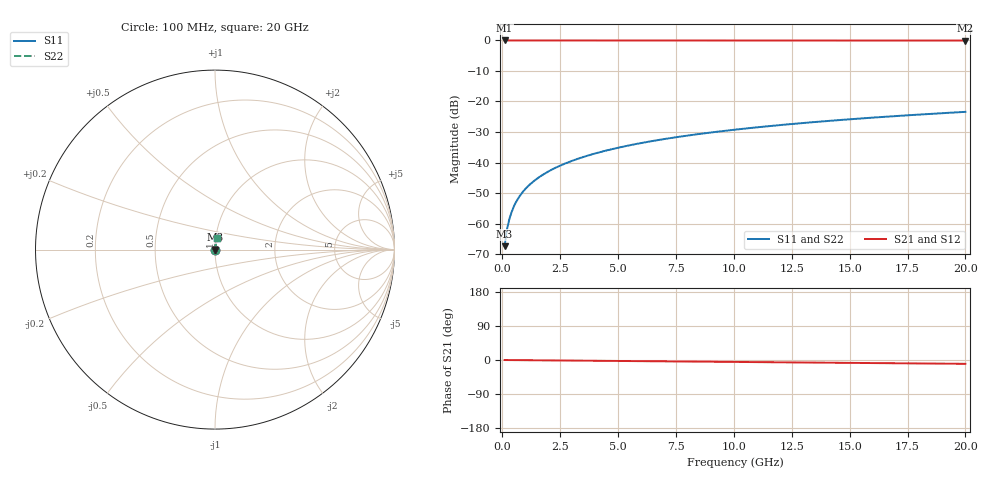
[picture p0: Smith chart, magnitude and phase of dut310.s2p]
! Touchstone file exported from HFSS 2026.1.0
!  File:  C:/ffzhzh/LocalFiles/Ansys_Project_Files/temp_train_TSV_310_1783018131_53980.aedt
!  Generated:  02:50:41 AM Jul  3, 2026
!  Design:  TSV
!  Project:  temp_train_TSV_310_1783018131_53980
! Variables:
!  h_bsmrdl = 2um
!  h_ox = 20um
!  h_rdl = 5um
!  h_sub = 89.73um
!  h_tmrdl = 5um
!  h_tsv = 89.73um
!  h_via = 3um
!  l_bsmrdl = 300um
!  l_sub = 416.62um
!  l_tmrdl = 200um
!  m_sub = 200um
!  pitch = 57.67um
!  r_tsv = 8.31um
!  s_tmrdl = 10um
!  w_bsmrdl = 18um
!  w_sub = 500um
!  w_tmrdl = 12um
!  x_tsv_center1 = 206um
!  x_tsv_center2 = 524um
!  x_tsv_center3 = 736um
!  x_tsv_center4 = 1054um
!  x_tsv_center5 = 1266um
!  x_tsv_center6 = 1584um
# GHz S MA R 50.000000
! Terminal data exported
! Port[1] = TSV1_1_T1
! Port[2] = TSV1_1_T2
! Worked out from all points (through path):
!   200 points, 100 MHz to 20 GHz, reference 50 ohm
!   highest |S21| = 0.00 dB at 100 MHz (marker M1); lowest = 0.0 dB at 20 GHz (marker M2)
!   group delay of S21, straight-line fit = 1.4 ps
!   lowest |S11| = -67.4 dB at 100 MHz (marker M3), VSWR 1.00, Z = 50 + j0.0385 ohm
!   |S11| at or under -10 dB: start of sweep to end of sweep
!   |S22| runs from -67.4 to -23.4 dB; largest |S21 - S12| = 2.3e-15
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0.1  0.0004257 64.7  0.9998 -0.1  0.9998 -0.1  0.0004257 64.7
! Gamma 0 0 0 0
! Port Impedance 50 0 50 0
0.2  0.0007916 75.9  0.9998 -0.1  0.9998 -0.1  0.0007916 75.9
0.3  0.001166 79.6  0.9998 -0.2  0.9998 -0.2  0.001166 79.6
0.4  0.001539 81.3  0.9998 -0.2  0.9998 -0.2  0.001539 81.3
0.5  0.001908 82.2  0.9997 -0.3  0.9997 -0.3  0.001908 82.2
0.6  0.002273 82.8  0.9997 -0.3  0.9997 -0.3  0.002273 82.8
0.7  0.002634 83.2  0.9997 -0.4  0.9997 -0.4  0.002634 83.2
0.8  0.002992 83.4  0.9997 -0.4  0.9997 -0.4  0.002992 83.4
1  0.003698 83.9  0.9996 -0.5  0.9996 -0.5  0.003698 83.9
1.4  0.005091 84.4  0.9996 -0.7  0.9996 -0.7  0.005091 84.4
1.7  0.006129 84.7  0.9995 -0.9  0.9995 -0.9  0.006129 84.7
2  0.007164 84.9  0.9995 -1.0  0.9995 -1.0  0.007164 84.9
2.7  0.009576 85.2  0.9994 -1.4  0.9994 -1.4  0.009576 85.2
3.5  0.01233 85.2  0.9993 -1.8  0.9993 -1.8  0.01233 85.2
4.2  0.01473 85.1  0.9992 -2.1  0.9992 -2.1  0.01473 85.1
5  0.01746 84.9  0.9991 -2.6  0.9991 -2.6  0.01746 84.9
6.8  0.02357 84.3  0.9988 -3.5  0.9988 -3.5  0.02357 84.3
8.3  0.02864 83.8  0.9986 -4.2  0.9986 -4.2  0.02864 83.8
10.1  0.0347 83.0  0.9983 -5.1  0.9983 -5.1  0.0347 83.0
13.4  0.04576 81.6  0.9977 -6.8  0.9977 -6.8  0.04576 81.6
16.7  0.05672 80.1  0.997 -8.4  0.997 -8.4  0.05672 80.1
20  0.06758 78.6  0.9962 -10.1  0.9962 -10.1  0.06758 78.6
